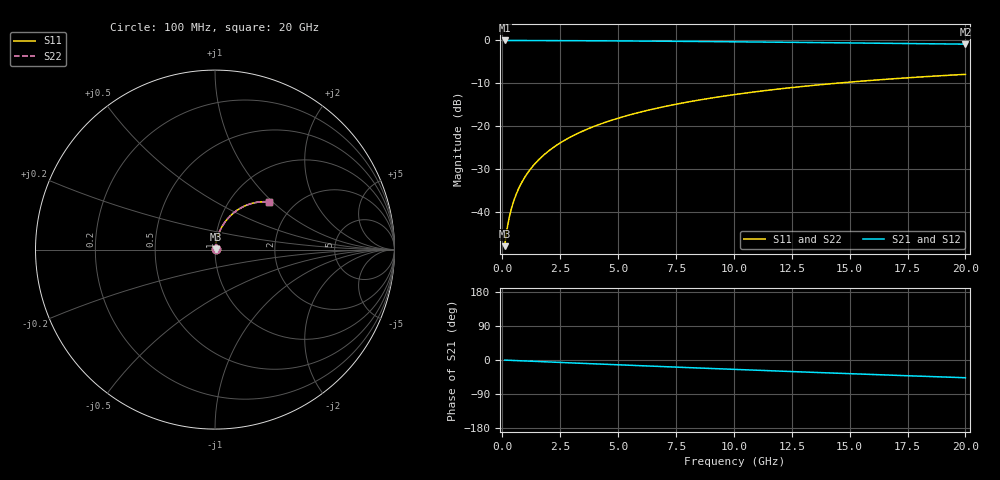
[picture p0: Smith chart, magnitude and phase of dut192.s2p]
! Touchstone file exported from HFSS 2026.1.0
!  File:  C:/ffzhzh/LocalFiles/Ansys_Project_Files/temp_train_TMRDL_192_1782983827_40604.aedt
!  Generated:  05:18:26 PM Jul  2, 2026
!  Design:  TMRDL
!  Project:  temp_train_TMRDL_192_1782983827_40604
! Variables:
!  h_bsmrdl = 2um
!  h_ox = 20um
!  h_rdl = 5um
!  h_sub = 80um
!  h_tmrdl = 5.28um
!  h_tsv = 80um
!  h_via = 3um
!  l_bsmrdl = 300um
!  l_sub = 1122um
!  l_tmrdl = 722um
!  m_sub = 200um
!  pitch = 42.13um
!  r_tsv = 6um
!  s_tmrdl = 10um
!  w_bsmrdl = 18um
!  w_sub = 500um
!  w_tmrdl = 17.68um
!  x_tsv_center1 = 730.84um
!  x_tsv_center2 = 1048.84um
!  x_tsv_center3 = 1788.52um
!  x_tsv_center4 = 2106.52um
!  x_tsv_center5 = 2846.2um
!  x_tsv_center6 = 3164.2um
# GHz S MA R 50.000000
! Terminal data exported
! Port[1] = TM_RDL1_1_T1
! Port[2] = TM_RDL1_1_T2
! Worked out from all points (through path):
!   200 points, 100 MHz to 20 GHz, reference 50 ohm
!   highest |S21| = -0.02 dB at 100 MHz (marker M1); lowest = -0.9 dB at 20 GHz (marker M2)
!   group delay of S21, straight-line fit = 6.5 ps
!   lowest |S11| = -48.0 dB at 100 MHz (marker M3), VSWR 1.01, Z = 50.3 + j0.278 ohm
!   |S11| at or under -10 dB: start of sweep to 14.43 GHz
!   |S22| runs from -48.0 to -7.9 dB; largest |S21 - S12| = 2.7e-15
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0.1  0.003984 43.9  0.9971 -0.3  0.9971 -0.3  0.003984 43.9
! Gamma 0 0 0 0
! Port Impedance 50 0 50 0
0.2  0.006225 60.6  0.997 -0.5  0.997 -0.5  0.006225 60.6
0.3  0.008633 67.8  0.9968 -0.8  0.9968 -0.8  0.008633 67.8
0.4  0.01108 71.9  0.9967 -1.1  0.9967 -1.1  0.01108 71.9
0.5  0.01355 74.5  0.9966 -1.3  0.9966 -1.3  0.01355 74.5
0.6  0.01604 76.2  0.9965 -1.6  0.9965 -1.6  0.01604 76.2
0.8  0.02105 78.3  0.9963 -2.1  0.9963 -2.1  0.02105 78.3
1.1  0.02862 79.7  0.9959 -2.9  0.9959 -2.9  0.02862 79.7
1.5  0.03871 80.3  0.9953 -3.9  0.9953 -3.9  0.03872 80.3
1.8  0.04626 80.2  0.9948 -4.7  0.9948 -4.7  0.04626 80.2
2.1  0.05377 79.9  0.9941 -5.4  0.9941 -5.4  0.05377 79.9
2.7  0.06864 78.9  0.9927 -6.9  0.9927 -6.9  0.06864 78.9
3.5  0.08813 77.3  0.9904 -9.0  0.9904 -9.0  0.08813 77.3
4.2  0.1049 75.8  0.9881 -10.7  0.9881 -10.7  0.1049 75.8
5  0.1236 74.0  0.9852 -12.7  0.9852 -12.7  0.1237 74.0
5.9  0.1443 72.0  0.9817 -14.9  0.9817 -14.9  0.1443 72.0
6.8  0.1646 69.9  0.9779 -17.1  0.9779 -17.1  0.1646 69.9
8.3  0.1973 66.6  0.9709 -20.7  0.9709 -20.7  0.1973 66.6
10.1  0.2347 62.5  0.9618 -25.0  0.9618 -25.0  0.2348 62.5
13.4  0.298 55.3  0.9432 -32.6  0.9432 -32.6  0.298 55.3
16.7  0.3537 48.2  0.9232 -39.8  0.9232 -39.8  0.3537 48.2
20  0.4015 41.4  0.9032 -46.8  0.9032 -46.8  0.4016 41.4
